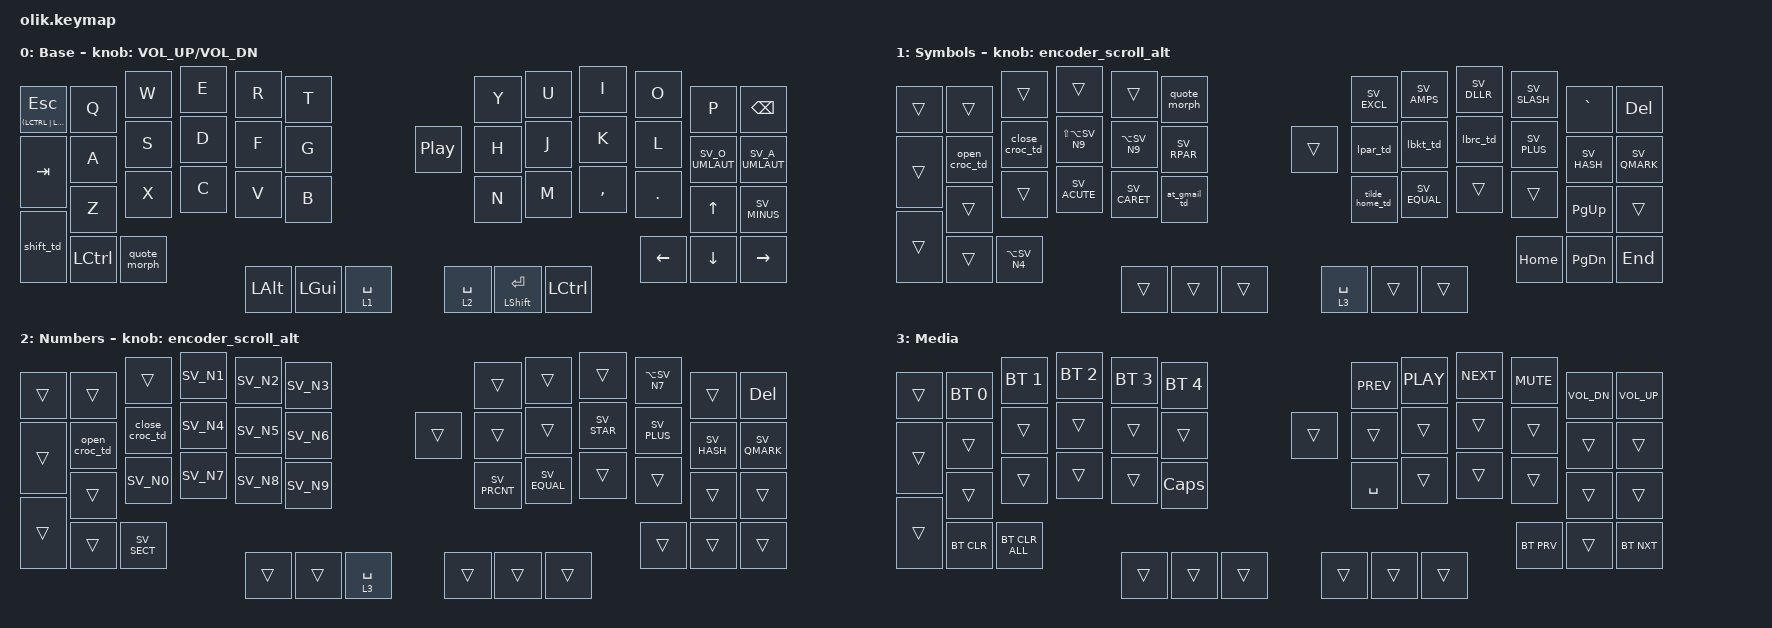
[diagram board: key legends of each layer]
#define ZMK_MOUSE_SCRL_VAL 140
#include <behaviors.dtsi>
#include <dt-bindings/zmk/keys.h>
#include <dt-bindings/zmk/modifiers.h>
#include <dt-bindings/zmk/bt.h>
#include <dt-bindings/zmk/pointing.h>
#include <locale/keys_sv.h>

/ {
	
	behaviors {
		// Alternative scroll behavior using MOVE values (for smooth scrolling)
		encoder_scroll_alt: encoder_scroll_alt {
			compatible = "zmk,behavior-sensor-rotate";
			#sensor-binding-cells = <0>;
			bindings = <&msc MOVE_UP>, <&msc MOVE_DOWN>;
			
			tap-ms = <50>;
		};
		
		
		at_gmail_td: at_gmail_td {
			compatible = "zmk,behavior-tap-dance";
			#binding-cells = <0>;
			tapping-term-ms = <200>;
			bindings = <&kp SV_AT>, <&macro_gmail>;
		};
		
		tilde_home_td: tilde_home_td {
			compatible = "zmk,behavior-tap-dance";
			#binding-cells = <0>;
			tapping-term-ms = <200>;
			bindings = <&kp SV_TILDE>, <&macro_tilde_home>;
		};
		
		open_croc_td: open_croc_td {
			compatible = "zmk,behavior-tap-dance";
			#binding-cells = <0>;
			tapping-term-ms = <200>;
			bindings
			= <&kp SV_LT &macro_open_close_croc>;
		};
		
		close_croc_td: close_croc_td {
			compatible = "zmk,behavior-tap-dance";
			#binding-cells = <0>;
			tapping-term-ms = <200>;
			bindings
			= <&kp SV_GT &macro_close_croc>;
		};
		
		lpar_td: lpar_td {
			compatible = "zmk,behavior-tap-dance";
			#binding-cells = <0>;
			tapping-term-ms = <200>;
			bindings
			= <&kp SV_LPAR &macro_lpar>;
		};
		
		lbkt_td: lbkt_td {
			compatible = "zmk,behavior-tap-dance";
			#binding-cells = <0>;
			tapping-term-ms = <200>;
			bindings
			= <&kp LA(SV_N8) &macro_lbkt>;
		};
		
		lbrc_td: lbrc_td {
			compatible = "zmk,behavior-tap-dance";
			#binding-cells = <0>;
			tapping-term-ms = <200>;
			bindings
			= <&kp LS(LA(SV_N8)) &macro_lbrc>;
		};
		
		quote_morph: quote_morph {
			compatible = "zmk,behavior-mod-morph";
			#binding-cells = <0>;
			mods = <(MOD_LSFT)>;
			bindings = <&kp SV_SINGLE_QUOTE>, <&kp SV_DQT>;
		};
		
		shift_td: shift_td {
			compatible = "zmk,behavior-tap-dance";
			#binding-cells = <0>;
			tapping-term-ms = <250>;
			bindings = <&kp LSHIFT>, <&sk LSHIFT>, <&caps_word>;
		};

	};
	
	macros {
		macro_pa: macro_pa {
			/* Outputs: "på". */
			compatible = "zmk,behavior-macro";
			#binding-cells = <0>;
			bindings
			= <&kp SV_P &kp SV_A_RING>;
		};
		
		macro_kim_fransman: macro_kim_fransman {
			/* Outputs: "kim.fransman". */
			compatible = "zmk,behavior-macro";
			#binding-cells = <0>;
			bindings
			= <&kp K &kp I &kp M &kp DOT &kp F &kp R &kp A &kp N &kp S &kp M &kp A &kp N>;
		};
		
		macro_gmail: macro_gmail {
			/* Outputs: "@gmail.com". */
			compatible = "zmk,behavior-macro";
			#binding-cells = <0>;
			bindings
			= <&kp SV_AT &kp G &kp M &kp A &kp I &kp L &kp DOT &kp C &kp O &kp M>;
		};
		
		macro_tilde_home: macro_tilde_home {
			/* Outputs: "~/". */
			compatible = "zmk,behavior-macro";
			#binding-cells = <0>;
			bindings
			= <&kp SV_TILDE &kp SV_SLASH>;
		};
		
		macro_open_close_croc: macro_open_close_croc {
			/* Outputs: "</>" and moves cursor between "/" and ">". */
			compatible = "zmk,behavior-macro";
			#binding-cells = <0>;
			bindings
			= <&kp SV_LT &kp SV_FSLH &kp SV_GT &kp LEFT>;
		};
		
		macro_close_croc: macro_close_croc {
			/* Outputs: "/>". */
			compatible = "zmk,behavior-macro";
			#binding-cells = <0>;
			bindings
			= <&kp SV_FSLH &kp SV_GT>;
		};
		
		
		macro_lpar: macro_lpar {
			/* Outputs: "()" and moves cursor inside. */
			compatible = "zmk,behavior-macro";
			#binding-cells = <0>;
			bindings
			= <&kp SV_LPAR &kp SV_RPAR &kp LEFT>;
		};
		macro_lbkt: macro_lbkt {
			/* Outputs: "[]" and moves cursor inside. */
			compatible = "zmk,behavior-macro";
			#binding-cells = <0>;
			bindings
			= <&kp LA(SV_N8) &kp LA(SV_N9) &kp LEFT>;
		};
		macro_lbrc: macro_lbrc {
		/* Outputs: "{}" and moves cursor inside. */
			compatible = "zmk,behavior-macro";
			#binding-cells = <0>;
			bindings
			= <&kp LS(LA(SV_N8)) &kp LS(LA(SV_N9)) &kp LEFT>;
		};

		macro_fransman: macro_fransman {
			/* Outputs: "Fransman". */
			compatible = "zmk,behavior-macro";
			#binding-cells = <0>;
			wait-ms = <40>;
			tap-ms = <40>;
			bindings
			= <&kp LS(F) &kp R &kp A &kp N &kp S &kp M &kp A &kp N>;
		};

		macro_ellinore: macro_ellinore {
			/* Outputs: "Ellinore". */
			compatible = "zmk,behavior-macro";
			#binding-cells = <0>;
			wait-ms = <40>;
			tap-ms = <40>;
			bindings
			= <&kp LS(E) &kp L &kp L &kp I &kp N &kp O &kp R &kp E>;
		};
	};
	
	combos {
		compatible = "zmk,combos";
		
		combo_aring {
			/* Ö + Ä => Å. */
			timeout-ms = <40>;
			key-positions = <23 24>;
			bindings = <&kp SV_A_RING>;
			layers = <0>;
		};
		
		combo_pa {
			/* P + Ö => PÅ. */
			timeout-ms = <40>;
			key-positions = <10 23>;
			bindings = <&macro_pa>;
			layers = <0>;
		};
		
		combo_email_username {
			/* I + K => kim.fransman. */
			timeout-ms = <40>;
			key-positions = <8 21>;
			bindings = <&macro_kim_fransman>;
			layers = <0>;
		};
		
		combo_gmail_com {
			/* G + M => gmail.com. */
			timeout-ms = <40>;
			key-positions = <17 31>;
			bindings = <&macro_gmail>;
			layers = <0>;
		};

		combo_fransman {
			/* S + D + F => Fransman. */
			timeout-ms = <40>;
			key-positions = <14 15 16>;
			bindings = <&macro_fransman>;
			layers = <0>;
		};

		combo_ellinore {
			/* W + E + R => Ellinore. */
			timeout-ms = <40>;
			key-positions = <2 3 4>;
			bindings = <&macro_ellinore>;
			layers = <0>;
		};
	};
	
	
	keymap {
		compatible = "zmk,keymap";
		
		// -----------------------------------------------------------------------------------------
		// | ESC   |  Q    |  W   |  E   |  R   |  T   |                 |  Y   |  U   |  I   |  O   |  P   | BSPC |
		// | TAB   |  A    |  S   |  D   |  F   |  G   |     PLAY/PAUSE  |  H   |  J   |  K   |  L   |  Ö   |  Ä   |
		// |       |  Z    |  X   |  C   |  V   |  B   |                 |  N   |  M   |  ,   |  .   |  UP  |  -   |
		// | SHIFT |  CTRL | '                                                                  LEFT | DOWN | RIGHT|
		//                     ALT | GUI | SPACE (SYM) |                 | SPACE (NUM) | ENTER | CTRL
		default_layer {
			display-name = "Base";
			bindings = <
			&mt (LCTRL | LGUI) ESCAPE		&kp Q             &kp W             &kp E             &kp R             &kp T                           &kp Y             &kp U             &kp I             &kp O             &kp P             &kp BACKSPACE
			&kp TAB           		      &kp A             &kp S             &kp D             &kp F             &kp G    &kp C_PLAY_PAUSE 			&kp H             &kp J             &kp K             &kp L             &kp SV_O_UMLAUT   &kp SV_A_UMLAUT
			&kp Z             		      &kp X             &kp C             &kp V             &kp B                           									&kp N             &kp M             &kp COMMA         &kp DOT           &kp UP            &kp SV_MINUS
			&shift_td        		        &kp LCTRL  		    &quote_morph                                                    																				                                    &kp LEFT          &kp DOWN          &kp RIGHT
			&kp LEFT_ALT  &kp LEFT_GUI  &lt 1 SPACE                                                                           &lt 2 SPACE        &mt LSHIFT ENTER         &kp LCTRL
			>;
			
			sensor-bindings = <&inc_dec_kp C_VOL_UP C_VOL_DN>;
		};
		
		// -----------------------------------------------------------------------------------------
		// | ESC   |     |     | E*  |     |  '   |          |  !  |  &  |  $  |  /  |  `     | DEL |
		// | TAB   |  <  |  >   |  }  |  ]  |  )  |   SCROLL | (   |  [  |  {  |  +  |  #     |  ?  |
		// |       |   ´  |  ¤   |     |  ^  |  @  |          |  ~  |  =  |  ,  |  .  |  PGUP  |  -   |
		// | SHIFT |  CTRL | € |                                                 | HOME | PGDOWN | END|
		//                     | ALT | GUI | SPACE |        | SPACE (MEDIA) | LSENTER | SHIFT |
		sym {
			display-name = "Symbols";
			bindings = <
			&trans  &trans        	&trans          &trans              &trans         &quote_morph                  &kp SV_EXCL      &kp SV_AMPS  &kp SV_DLLR  &kp SV_SLASH &kp GRAVE      &kp DELETE
			&trans  &open_croc_td   &close_croc_td  &kp LS(LA(SV_N9))   &kp LA(SV_N9)  &kp SV_RPAR           &trans  &lpar_td         &lbkt_td     &lbrc_td     &kp SV_PLUS  &kp SV_HASH    &kp SV_QMARK
			&trans                	&trans          &kp SV_ACUTE        &kp SV_CARET   &at_gmail_td                  &tilde_home_td   &kp SV_EQUAL &trans       &trans       &kp PAGE_UP    &trans
			&trans  &trans  &kp LA(SV_N4)                                                                                                                     &kp HOME     &kp PAGE_DOWN  &kp END
			&trans  &trans  &trans                                                                         &lt 3 SPACE  &trans  &trans
			>;
			
			sensor-bindings = <&encoder_scroll_alt>;
		};
		
		// -----------------------------------------------------------------------------------------111
		// | ESC |  	|  |  1   |  2   |  3   |       	|  |  |  |  | "|" | DEL  |
		// | TAB | <  | > |			  4   |  5   |  6   | SCROLL  |   |      |  *  |   +    |   #    | ? |
		// |     |    |  0  |  7   |  8   |  9   |       	| % | = | , | . | UP | - |
		// | SHIFT    CTRL | § |      | | | |
		//                     | ALT | GUI | SPACE (MEDIA) |        | SPACE | LSENTER | SHIFT |
		num {
			display-name = "Numbers";
			bindings = <
			&trans  &trans           			 &trans           &kp SV_N1  &kp SV_N2  &kp SV_N3             &trans            &trans           &trans         &kp LA(SV_N7)  &trans  	   &kp DELETE
			&trans  &open_croc_td 				 &close_croc_td   &kp SV_N4  &kp SV_N5  &kp SV_N6     &trans  &trans            &trans           &kp SV_STAR    &kp SV_PLUS  &kp SV_HASH  &kp SV_QMARK
			&trans                         &kp	 SV_N0        &kp SV_N7  &kp SV_N8  &kp SV_N9             &kp SV_PRCNT      &kp SV_EQUAL     &trans         &trans       &trans       &trans
			&trans  &trans     &kp SV_SECT                                                             &trans  &trans  &trans
			&trans  &trans     &lt 3 SPACE                                                             &trans &trans &trans
			>;
			
			sensor-bindings = <&encoder_scroll_alt>;
		};
		
		// -----------------------------------------------------------------------------------------
		// | ESC   |  NO  |  NO  |  NO  |  NO  |  NO  |   | PREV | PLAY | NEXT | MUTE | VOL- | VOL+ |
		// | TAB   |  NO  | NO | NO  | NO  |  NO  |   | LEFT |  UP  | DOWN | RIGHT |  NO  |  NO  |
		// | SHIFT |  NO  |  NO  |  NO  |  NO  | CAPS |   | SPACE | LEFT |  NO  | RIGHT |  NO  |  NO  |
		//                    | NO | NO | NO |   | NO | NO | NO |
		media {
			display-name = "Media";
			bindings = <
			&trans &bt BT_SEL 0 &bt BT_SEL 1   &bt BT_SEL 2  &bt BT_SEL 3 &bt BT_SEL 4              &kp C_PREV &kp C_PLAY &kp C_NEXT &kp C_MUTE   &kp C_VOL_DN &kp C_VOL_UP
			&trans &trans       &trans         &trans        &trans       &trans          &trans    &trans     &trans     &trans     &trans       &trans       &trans
			&trans &trans       &trans         &trans        &kp CAPS 			                        &kp SPACE  &trans     &trans     &trans       &trans       &trans
			&trans &bt BT_CLR   &bt BT_CLR_ALL                                                                                      &bt BT_PRV    &trans       &bt BT_NXT
			&trans &trans       &trans                                                             &trans &trans &trans
			>;
		};
		
	};
};
